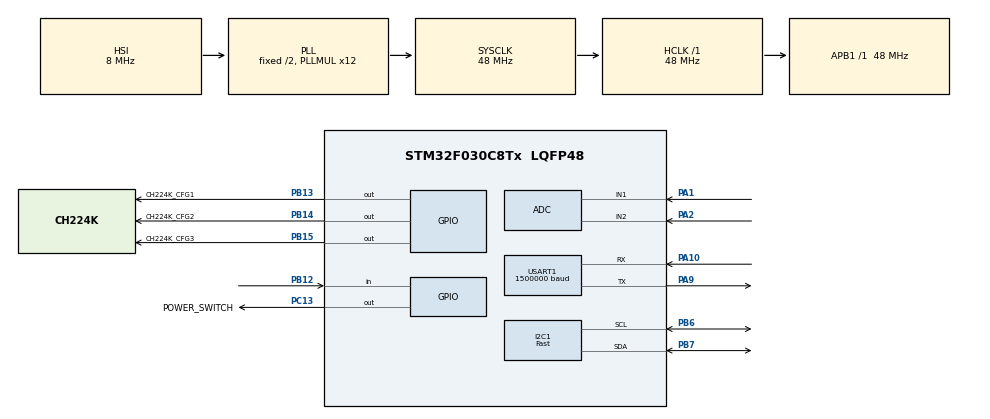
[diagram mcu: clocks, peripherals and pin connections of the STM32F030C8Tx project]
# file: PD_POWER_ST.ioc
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ADC.ClockPrescaler=ADC_CLOCK_ASYNC_DIV1
ADC.DiscontinuousConvMode=ENABLE
ADC.EOCSelection=ADC_EOC_SEQ_CONV
ADC.SamplingTime=ADC_SAMPLETIME_239CYCLES_5
I2C1.I2C_Speed_Mode=I2C_Fast
I2C1.Timing=0x0000020B
Mcu.Family=STM32F0
Mcu.Name=STM32F030C8Tx
Mcu.Package=LQFP48
NVIC.TIM6_IRQn=true\:0\:0\:false\:false\:true\:true\:true
NVIC.USART1_IRQn=true\:0\:0\:false\:false\:true\:true\:true
PA1.Mode=IN1
PA1.Signal=ADC_IN1
PA10.Mode=Asynchronous
PA10.Signal=USART1_RX
PA13.Mode=Serial_Wire
PA13.Signal=SYS_SWDIO
PA14.Mode=Serial_Wire
PA14.Signal=SYS_SWCLK
PA2.Mode=IN2
PA2.Signal=ADC_IN2
PA9.Mode=Asynchronous
PA9.Signal=USART1_TX
PB12.GPIO_PuPd=GPIO_PULLUP
PB12.Signal=GPIO_Input
PB13.GPIO_Label=CH224K_CFG1
PB13.GPIO_PuPd=GPIO_PULLUP
PB13.GPIO_Speed=GPIO_SPEED_FREQ_HIGH
PB13.PinState=GPIO_PIN_SET
PB13.Signal=GPIO_Output
PB14.GPIO_Label=CH224K_CFG2
PB14.GPIO_PuPd=GPIO_PULLDOWN
PB14.GPIO_Speed=GPIO_SPEED_FREQ_HIGH
PB14.Signal=GPIO_Output
PB15.GPIO_Label=CH224K_CFG3
PB15.GPIO_PuPd=GPIO_PULLDOWN
PB15.GPIO_Speed=GPIO_SPEED_FREQ_HIGH
PB15.PinState=GPIO_PIN_RESET
PB15.Signal=GPIO_Output
PB6.Mode=I2C
PB6.Signal=I2C1_SCL
PB7.Mode=I2C
PB7.Signal=I2C1_SDA
PC13.GPIO_Label=POWER_SWITCH
PC13.GPIO_PuPd=GPIO_PULLDOWN
PC13.PinState=GPIO_PIN_RESET
PC13.Signal=GPIO_Output
ProjectManager.HeapSize=0x200
ProjectManager.StackSize=0x400
ProjectManager.TargetToolchain=STM32CubeIDE
RCC.AHBFreq_Value=48000000
RCC.APB1Freq_Value=48000000
RCC.APB1TimFreq_Value=48000000
RCC.HCLKFreq_Value=48000000
RCC.PLLMUL=RCC_PLL_MUL12
RCC.SYSCLKFreq_VALUE=48000000
RCC.SYSCLKSource=RCC_SYSCLKSOURCE_PLLCLK
TIM6.AutoReloadPreload=TIM_AUTORELOAD_PRELOAD_ENABLE
TIM6.Period=9999
TIM6.Prescaler=47
USART1.BaudRate=1500000
USART1.VirtualMode-Asynchronous=VM_ASYNC
VP_TIM6_VS_ClockSourceINT.Mode=Enable_Timer
board=custom

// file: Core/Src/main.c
/* USER CODE BEGIN Header */
/**
  ******************************************************************************
  * @file           : main.c
  * @brief          : Main program body
  ******************************************************************************
  * @attention
  *
  * Copyright (c) 2022 STMicroelectronics.
  * All rights reserved.
  *
  * This software is licensed under terms that can be found in the LICENSE file
  * in the root directory of this software component.
  * If no LICENSE file comes with this software, it is provided AS-IS.
  *
  ******************************************************************************
  */
/* USER CODE END Header */
#include "main.h"
#include "adc.h"
#include "i2c.h"
#include "tim.h"
#include "usart.h"
#include "gpio.h"

/* USER CODE BEGIN Includes */
#include "oled_init.h"
#include "button.h"
/* USER CODE END Includes */

/* USER CODE BEGIN PTD */
//uint8_t buff[1024];
const uint8_t danji[][32] ={
0xE7,0xE7,0xCF,0xF3,0x9F,0xF9,0x03,0xC0,0x73,0xCE,0x73,0xCE,0x03,0xC0,0x73,0xCE,
0x73,0xCE,0x03,0xC0,0x7F,0xFE,0x7F,0xFE,0x00,0x00,0x7F,0xFE,0x7F,0xFE,0x7F,0xFE,/*"单",0*/
0x7F,0xFE,0x7F,0xFE,0x7F,0xFE,0x03,0xC0,0x7F,0xFE,0x7F,0xFE,0x7F,0xFE,0x00,0x00,
0x7F,0xFE,0x7F,0xFE,0x73,0xCE,0x73,0xCE,0x73,0xCE,0x73,0xCE,0x03,0xC0,0xFF,0xCF,/*"击",1*/
};
const uint8_t changan[][32] ={
0xCF,0xFF,0xCF,0xE7,0xCF,0xF3,0xCF,0xF9,0xCF,0xFC,0x4F,0xFE,0xCF,0xFF,0x00,0x00,
0x0F,0xFF,0x4F,0xFE,0xCF,0xFC,0xCF,0xF9,0x4F,0xF2,0x0F,0xC7,0x8F,0x1F,0xCF,0xFF,/*"长",0*/
0xE7,0xF9,0xE7,0xF3,0xE7,0xF3,0x27,0x00,0x00,0x3F,0x87,0x99,0xE7,0xF9,0x07,0x00,
0xE3,0xCC,0xE0,0xCC,0x67,0xCE,0xE7,0xE0,0xE7,0xF3,0xE7,0xE1,0xE1,0xCC,0x33,0x9E,/*"按",1*/
};
const uint8_t qiehuan[][28] ={
0x04,0x00,0xC4,0x1F,0x04,0x11,0x04,0x11,0x3C,0x11,0x07,0x11,0x04,0x11,0x04,0x11,
0x24,0x11,0x94,0x10,0x8C,0x10,0x44,0x10,0x20,0x10,0x10,0x0C,/*"切",0*/
0x44,0x00,0x44,0x00,0xC4,0x07,0x2F,0x04,0x14,0x02,0xE4,0x0F,0x24,0x09,0x2C,0x09,
0x27,0x09,0xF4,0x1F,0x84,0x02,0x44,0x04,0x24,0x08,0x17,0x10,/*"换",1*/
};
const uint8_t shuchu[][28] ={
0x02,0x01,0x82,0x02,0x4F,0x04,0x22,0x08,0xD1,0x17,0x05,0x00,0xEF,0x11,0x24,0x15,
0xE4,0x15,0x2C,0x15,0xE7,0x15,0x24,0x15,0x24,0x11,0xA4,0x1D,/*"输",0*/
0x40,0x00,0x42,0x08,0x42,0x08,0x42,0x08,0x42,0x08,0xFE,0x0F,0x40,0x00,0x40,0x00,
0x41,0x10,0x41,0x10,0x41,0x10,0x41,0x10,0xFF,0x1F,0x00,0x10,/*"出",1*/
};
const uint8_t dianya[][30] ={
0xFF,0xFF,0xBF,0xFF,0xBF,0xFF,0xBF,0xFF,0x03,0xF8,0xBB,0xFB,0x03,0xF8,0xBB,0xFB,
0xBB,0xFB,0x03,0xF8,0xBB,0xFB,0xBF,0xEF,0xBF,0xEF,0x3F,0xE0,0xFF,0xFF,/*"电",0*/
0xFF,0xFF,0xFB,0xF7,0x03,0xF8,0x7B,0xFF,0x7B,0xFF,0x7B,0xFF,0x7B,0xFF,0x1B,0xF8,
0x7B,0xFF,0x7B,0xF9,0x7B,0xFB,0x7B,0xFF,0x79,0xEF,0x87,0xF0,0xFF,0xFF,/*"压",1*/
};
const uint8_t dianliu[][30] ={
0xFF,0xFF,0xBF,0xFF,0xBF,0xFF,0xBF,0xFF,0x03,0xF8,0xBB,0xFB,0x03,0xF8,0xBB,0xFB,
0xBB,0xFB,0x03,0xF8,0xBB,0xFB,0xBF,0xEF,0xBF,0xEF,0x3F,0xE0,0xFF,0xFF,/*"电",0*/
0xFF,0xFF,0xFF,0xFE,0x33,0xF0,0xF7,0xFE,0x7F,0xFF,0xAD,0xF3,0x33,0xF4,0xD7,0xFB,
0xD7,0xFA,0xDB,0xFA,0xD9,0xFA,0xDB,0xFA,0xEB,0xEA,0xE3,0xE3,0xFF,0xFF,/*"流",1*/
};
const uint8_t gonglv[][30] ={
0xFF,0xFF,0xFF,0xFD,0xFF,0xFD,0x81,0xFD,0xF7,0xED,0x77,0xE0,0xF7,0xEE,0xF7,0xEE,
0xF7,0xEE,0x97,0xEE,0x63,0xF7,0x7D,0xF7,0xBF,0xF7,0xDF,0xF1,0xFF,0xFF,/*"功",0*/
0xFF,0xFF,0xBF,0xFF,0x43,0xF0,0xBF,0xFF,0xDB,0xF6,0x07,0xFB,0x7F,0xFF,0xB7,0xFB,
0x0B,0xF6,0x7F,0xFF,0x03,0xE0,0xBF,0xFF,0xBF,0xFF,0xBF,0xFF,0xFF,0xFF,/*"率",1*/
};
//const  uint8_t ONF[][64] ={
// 0xFF,0xFF,0xFF,0xFF,0xFF,0xFF,0xFF,0xFF,0xFF,0xFF,0xFF,0xFF,0x3F,0xF8,0x8F,0xE3,
// 0xC7,0xC7,0xE7,0xCF,0xE3,0x8F,0xE3,0x8F,0xF1,0x9F,0xF1,0x1F,0xF1,0x1F,0xF1,0x1F,
// 0xF1,0x1F,0xF1,0x1F,0xF1,0x1F,0xF1,0x1F,0xF1,0x1F,0xF3,0x1F,0xE3,0x8F,0xE3,0x8F,
// 0xE7,0xCF,0xC7,0xC7,0x8F,0xE3,0x3F,0xF8,0xFF,0xFF,0xFF,0xFF,0xFF,0xFF,0xFF,0xFF,/*"O",0*/
// 0xFF,0xFF,0xFF,0xFF,0xFF,0xFF,0xFF,0xFF,0xFF,0xFF,0xFF,0xFF,0xE0,0x07,0xC3,0x9F,
// 0xC3,0x9F,0x83,0x9F,0x83,0x9F,0x13,0x9F,0x13,0x9F,0x33,0x9E,0x33,0x9E,0x73,0x9C,
// 0x73,0x9C,0xF3,0x98,0xF3,0x98,0xF3,0x91,0xF3,0x91,0xF3,0x83,0xF3,0x83,0xF3,0x87,
// 0xF3,0x87,0xF3,0x8F,0xF3,0x8F,0xC0,0x9F,0xFF,0xFF,0xFF,0xFF,0xFF,0xFF,0xFF,0xFF,/*"N",1*/
// 0xFF,0xFF,0xFF,0xFF,0xFF,0xFF,0xFF,0xFF,0xFF,0xFF,0xFF,0xFF,0x01,0x80,0xC7,0x87,
// 0xC7,0x9F,0xC7,0x3F,0xC7,0x3F,0xC7,0xFF,0xC7,0xFF,0xC7,0xE7,0xC7,0xE7,0xC7,0xE3,
// 0x07,0xE0,0xC7,0xE3,0xC7,0xE7,0xC7,0xE7,0xC7,0xE7,0xC7,0xFF,0xC7,0xFF,0xC7,0xFF,
// 0xC7,0xFF,0xC7,0xFF,0xC7,0xFF,0x01,0xFF,0xFF,0xFF,0xFF,0xFF,0xFF,0xFF,0xFF,0xFF,/*"F",2*/
// };
const uint8_t ONF[][64] ={
0x00,0x00,0x00,0x00,0x00,0x00,0x00,0x00,0x00,0x00,0x00,0x00,0xC0,0x07,0x70,0x1C,
0x38,0x38,0x18,0x30,0x1C,0x70,0x1C,0x70,0x0E,0x60,0x0E,0xE0,0x0E,0xE0,0x0E,0xE0,
0x0E,0xE0,0x0E,0xE0,0x0E,0xE0,0x0E,0xE0,0x0E,0xE0,0x0C,0xE0,0x1C,0x70,0x1C,0x70,
0x18,0x30,0x38,0x38,0x70,0x1C,0xC0,0x07,0x00,0x00,0x00,0x00,0x00,0x00,0x00,0x00,/*"O",0*/
0x00,0x00,0x00,0x00,0x00,0x00,0x00,0x00,0x00,0x00,0x00,0x00,0x1F,0xF8,0x3C,0x60,
0x3C,0x60,0x7C,0x60,0x7C,0x60,0xEC,0x60,0xEC,0x60,0xCC,0x61,0xCC,0x61,0x8C,0x63,
0x8C,0x63,0x0C,0x67,0x0C,0x67,0x0C,0x6E,0x0C,0x6E,0x0C,0x7C,0x0C,0x7C,0x0C,0x78,
0x0C,0x78,0x0C,0x70,0x0C,0x70,0x3F,0x60,0x00,0x00,0x00,0x00,0x00,0x00,0x00,0x00,/*"N",1*/
0x00,0x00,0x00,0x00,0x00,0x00,0x00,0x00,0x00,0x00,0x00,0x00,0xFE,0x7F,0x38,0x78,
0x38,0x60,0x38,0xC0,0x38,0xC0,0x38,0x00,0x38,0x00,0x38,0x18,0x38,0x18,0x38,0x1C,
0xF8,0x1F,0x38,0x1C,0x38,0x18,0x38,0x18,0x38,0x18,0x38,0x00,0x38,0x00,0x38,0x00,
0x38,0x00,0x38,0x00,0x38,0x00,0xFE,0x00,0x00,0x00,0x00,0x00,0x00,0x00,0x00,0x00,/*"F",2*/
};
const uint8_t danwei[][14] ={
// 0xFF,0xFF,0xFF,0x18,0xBD,0xBD,0xDD,0xDB,0xDB,0xEB,0xEB,0xE7,0xF7,0xF7,0xFF,0xFF,/*"V",0*/
// 0xFF,0xFF,0xFF,0xF7,0xF7,0xE7,0xEB,0xEB,0xDB,0xC3,0xDD,0xBD,0xBD,0x18,0xFF,0xFF,/*"A",1*/
// 0xFF,0xFF,0xFF,0x94,0xD5,0xD5,0xD5,0xD5,0xD5,0xC9,0xEB,0xEB,0xEB,0xEB,0xFF,0xFF,/*"W",2*/
0x00,0x00,0x00,0x77,0x22,0x22,0x14,0x14,0x14,0x14,0x08,0x08,0x00,0x00,/*"V",0*/
0x00,0x00,0x00,0x08,0x08,0x14,0x14,0x14,0x1C,0x22,0x22,0x77,0x00,0x00,/*"A",1*/
0x00,0x00,0x00,0x6B,0x2A,0x2A,0x2A,0x2A,0x36,0x14,0x14,0x14,0x00,0x00,/*"W",2*/
};
const uint8_t shuzi[][12] ={
0x00,0x00,0x0E,0x11,0x11,0x11,0x11,0x11,0x11,0x0E,0x00,0x00,/*"0",0*/
0x00,0x00,0x04,0x06,0x04,0x04,0x04,0x04,0x04,0x0E,0x00,0x00,/*"1",1*/
0x00,0x00,0x0E,0x11,0x11,0x08,0x04,0x02,0x01,0x1F,0x00,0x00,/*"2",2*/
0x00,0x00,0x0E,0x11,0x10,0x0C,0x10,0x10,0x11,0x0E,0x00,0x00,/*"3",3*/
0x00,0x00,0x08,0x0C,0x0C,0x0A,0x09,0x1F,0x08,0x1C,0x00,0x00,/*"4",4*/
0x00,0x00,0x1F,0x01,0x01,0x0F,0x11,0x10,0x11,0x0E,0x00,0x00,/*"5",5*/
0x00,0x00,0x0C,0x12,0x01,0x0D,0x13,0x11,0x11,0x0E,0x00,0x00,/*"6",6*/
0x00,0x00,0x1E,0x10,0x08,0x08,0x04,0x04,0x04,0x04,0x00,0x00,/*"7",7*/
0x00,0x00,0x0E,0x11,0x11,0x0E,0x11,0x11,0x11,0x0E,0x00,0x00,/*"8",8*/
0x00,0x00,0x0E,0x11,0x11,0x19,0x16,0x10,0x09,0x06,0x00,0x00,/*"9",9*/
0x00,0x00,0x00,0x00,0x00,0x00,0x00,0x00,0x00,0x02,0x00,0x00,/*".",10*/
};
/* USER CODE END PTD */

void SystemClock_Config(void);

/* USER CODE BEGIN 0 */
KEY_HandleTypeDef key;
volatile uint32_t tim6Tick = 0;
void HAL_TIM_PeriodElapsedCallback(TIM_HandleTypeDef *htim){
	if(htim->Instance == TIM6){
		tim6Tick ++;
		if(tim6Tick % 4 == 0){
			KEY_Scan(&key);
		}
    }
}
unsigned  int millis(void){
	return 10 * tim6Tick;
}
unsigned  int micros(void){
	return 10000 * tim6Tick;
}
void setCh224kVoltage(int v){
  switch(v){
    case 5:
    	HAL_GPIO_WritePin(CH224K_CFG1_GPIO_Port, CH224K_CFG1_Pin, GPIO_PIN_SET);
    	HAL_GPIO_WritePin(CH224K_CFG2_GPIO_Port, CH224K_CFG2_Pin, GPIO_PIN_RESET);
    	HAL_GPIO_WritePin(CH224K_CFG3_GPIO_Port, CH224K_CFG3_Pin, GPIO_PIN_RESET);
    	break;
    case 9:
		HAL_GPIO_WritePin(CH224K_CFG1_GPIO_Port, CH224K_CFG1_Pin, GPIO_PIN_RESET);
		HAL_GPIO_WritePin(CH224K_CFG2_GPIO_Port, CH224K_CFG2_Pin, GPIO_PIN_RESET);
		HAL_GPIO_WritePin(CH224K_CFG3_GPIO_Port, CH224K_CFG3_Pin, GPIO_PIN_RESET);
		break;
    case 12:
		HAL_GPIO_WritePin(CH224K_CFG1_GPIO_Port, CH224K_CFG1_Pin, GPIO_PIN_RESET);
		HAL_GPIO_WritePin(CH224K_CFG2_GPIO_Port, CH224K_CFG2_Pin, GPIO_PIN_RESET);
		HAL_GPIO_WritePin(CH224K_CFG3_GPIO_Port, CH224K_CFG3_Pin, GPIO_PIN_SET);
		break;
    case 15:
		HAL_GPIO_WritePin(CH224K_CFG1_GPIO_Port, CH224K_CFG1_Pin, GPIO_PIN_RESET);
		HAL_GPIO_WritePin(CH224K_CFG2_GPIO_Port, CH224K_CFG2_Pin, GPIO_PIN_SET);
		HAL_GPIO_WritePin(CH224K_CFG3_GPIO_Port, CH224K_CFG3_Pin, GPIO_PIN_SET);
		break;
    case 20:
		HAL_GPIO_WritePin(CH224K_CFG1_GPIO_Port, CH224K_CFG1_Pin, GPIO_PIN_RESET);
		HAL_GPIO_WritePin(CH224K_CFG2_GPIO_Port, CH224K_CFG2_Pin, GPIO_PIN_SET);
		HAL_GPIO_WritePin(CH224K_CFG3_GPIO_Port, CH224K_CFG3_Pin, GPIO_PIN_RESET);
		break;
  }
}
void powerSwitch(int sta){
  if(sta == 1) HAL_GPIO_WritePin(POWER_SWITCH_GPIO_Port, POWER_SWITCH_Pin, GPIO_PIN_SET);
  else if(sta == 0) HAL_GPIO_WritePin(POWER_SWITCH_GPIO_Port, POWER_SWITCH_Pin, GPIO_PIN_RESET);
  else if(sta == -1){
    if(HAL_GPIO_ReadPin(POWER_SWITCH_GPIO_Port, POWER_SWITCH_Pin))
    	HAL_GPIO_WritePin(POWER_SWITCH_GPIO_Port, POWER_SWITCH_Pin, GPIO_PIN_RESET);
    else HAL_GPIO_WritePin(POWER_SWITCH_GPIO_Port, POWER_SWITCH_Pin, GPIO_PIN_SET);
  }
}
/* USER CODE END 0 */

int main(void)
{

  /* MCU Configuration--------------------------------------------------------*/

  /* Reset of all peripherals, Initializes the Flash interface and the Systick. */
  HAL_Init();

  /* Configure the system clock */
  SystemClock_Config();

  /* Initialize all configured peripherals */
  MX_GPIO_Init();
  MX_ADC_Init();
  MX_I2C1_Init();
  MX_USART1_UART_Init();
  MX_TIM6_Init();
  /* USER CODE BEGIN 2 */
  setCh224kVoltage(5);
  powerSwitch(0);
  key.KeyId = Gpio_pin2Index(GPIOB, GPIO_PIN_12);

  /* USER CODE END 2 */

  /* Infinite loop */
  /* USER CODE BEGIN WHILE */
	u8g2_t u8g2;
	u8g2Init(&u8g2);
	int show_len = 7;
	char buf[20]={"\0"};
	char *str1;
	//HAL_ADCEx_Calibration_Start(&hadc);
	const int CFG_VOLTAGE[5] = {5, 9, 12, 15, 20};
	int cfg_index = 0;
	int adc_v=0, adc_c=0;
	float volage=0, current=0, power=0;
  while (1)
  {
    /* USER CODE END WHILE */

    /* USER CODE BEGIN 3 */
	uint32_t t = millis();

	/** 按键事件处理 */
	KEY_FsmTypeDef fsm = KEY_Get_Fsm(&key);
	if(fsm == KEY_FSM_SHORT_PRESS){
		powerSwitch(0);
		if(cfg_index >= 4) cfg_index = 0;
		else cfg_index++;
		setCh224kVoltage(CFG_VOLTAGE[cfg_index]);
		printf("KEY_FSM_SHORT_PRESS\n");
	}else if(fsm == KEY_FSM_DOUBLE_PRESS){
		powerSwitch(0);
		if(cfg_index <= 0) cfg_index = 4;
		else cfg_index--;
		setCh224kVoltage(CFG_VOLTAGE[cfg_index]);
		printf("KEY_FSM_DOUBLE_PRESS\n");
	}else if(fsm == KEY_FSM_LONG_PRESS){
		powerSwitch(-1);
		printf("KEY_FSM_LONG_PRESS\n");
	}

   /** ADC采集转换 */
	HAL_ADCEx_Calibration_Start(&hadc);
	HAL_ADC_Start(&hadc);
	HAL_ADC_PollForConversion(&hadc, 50);
	adc_c = 0.6f * adc_c + 0.4f * HAL_ADC_GetValue(&hadc);
	HAL_ADCEx_Calibration_Start(&hadc);
	HAL_ADC_Start(&hadc);
	HAL_ADC_PollForConversion(&hadc, 50);
	adc_v = 0.5f * adc_v + 0.5f * HAL_ADC_GetValue(&hadc);
	HAL_ADC_Stop(&hadc);
    volage = ((3.3f * adc_v / 4096.0)) * 10.1f;
    current = (3.3f * adc_c / 4096.0) * 2.0f;
    power = volage * current;

    /** Oled显示 */
    u8g2_ClearBuffer(&u8g2);
    u8g2_DrawXBM(&u8g2,0,0,16,16,danji[0]);
    u8g2_DrawXBM(&u8g2,16,0,16,16,danji[1]);
    u8g2_DrawXBM(&u8g2,66,0,16,16,changan[0]);
    u8g2_DrawXBM(&u8g2,82,0,16,16,changan[1]);
    u8g2_DrawXBM(&u8g2,34,2,14,14,qiehuan[0]);
    u8g2_DrawXBM(&u8g2,48,2,14,14,qiehuan[1]);
    u8g2_DrawXBM(&u8g2,100,2,14,14,shuchu[0]);
    u8g2_DrawXBM(&u8g2,114,2,14,14,shuchu[1]);

	u8g2_DrawXBM(&u8g2,0,16,15,15,dianya[0]);
	u8g2_DrawXBM(&u8g2,15,16,15,15,dianya[1]);
	u8g2_DrawXBM(&u8g2,0,33,15,15,dianliu[0]);
	u8g2_DrawXBM(&u8g2,15,33,15,15,dianliu[1]);
	u8g2_DrawXBM(&u8g2,0,50,15,15,gonglv[0]);
	u8g2_DrawXBM(&u8g2,15,50,15,15,gonglv[1]);

	u8g2_DrawXBM(&u8g2,70,16,7,14,danwei[0]);
	u8g2_DrawXBM(&u8g2,70,33,7,14,danwei[1]);
	u8g2_DrawXBM(&u8g2,70,50,7,14,danwei[2]);

	int w = 6;
	int h = 12;
	buf[0] = '0';buf[1] = '.';buf[2] = '0';buf[3] = '0';buf[4] = '0';buf[5] = '0';buf[6] = '0';buf[7] = '0';
	if(volage > 0.001) str1 = gcvt(volage, show_len, buf);
	for(int i=0;i<5;i++){
		if(buf[i] != '.')
			u8g2_DrawXBM(&u8g2,36 + w*i, 16, w, h, shuzi[buf[i] - '0']);
		else u8g2_DrawXBM(&u8g2,36 + w*i, 16, w, h, shuzi[10]);
	}
	buf[0] = '0';buf[1] = '.';buf[2] = '0';buf[3] = '0';buf[4] = '0';buf[5] = '0';buf[6] = '0';buf[7] = '0';
	if(current > 0.001) str1 = gcvt(current, show_len, buf);
	for(int i=0;i<5;i++){
		if(buf[i] != '.')
			u8g2_DrawXBM(&u8g2,36 + w*i, 33, w, h, shuzi[buf[i] - '0']);
		else u8g2_DrawXBM(&u8g2,36 + w*i, 33, w, h, shuzi[10]);
	}
	buf[0] = '0';buf[1] = '.';buf[2] = '0';buf[3] = '0';buf[4] = '0';buf[5] = '0';buf[6] = '0';buf[7] = '0';
	if(power > 0.001) str1 = gcvt(power, show_len, buf);
	for(int i=0;i<5;i++){
		if(buf[i] != '.')
			u8g2_DrawXBM(&u8g2,36 + w*i, 50, w, h, shuzi[buf[i] - '0']);
		else u8g2_DrawXBM(&u8g2,36 + w*i, 50, w, h, shuzi[10]);
	}

	if(HAL_GPIO_ReadPin(POWER_SWITCH_GPIO_Port, POWER_SWITCH_Pin)){
		 u8g2_DrawXBM(&u8g2,88,24,16,32,ONF[0]);
		 u8g2_DrawXBM(&u8g2,104,24,16,32,ONF[1]);
	}else {
		u8g2_DrawXBM(&u8g2,82,24,16,32,ONF[0]);
		u8g2_DrawXBM(&u8g2,98,24,16,32,ONF[2]);
		u8g2_DrawXBM(&u8g2,113,24,16,32,ONF[2]);
	}
	u8g2_SendBuffer(&u8g2);

//	u8g2_ClearBuffer(&u8g2);
//	//u8g2_SetFont(&u8g2, u8g2_font_unifont_t_chinese1);
//	u8g2_SetFont(&u8g2, u8g2_font_DigitalDiscoThin_tu);
//	//u8g2_SetFont(&u8g2, u8g2_font_wqy16_t_gb2312);
//	u8g2_DrawStr(&u8g2, 0, 14, "click");
//	u8g2_DrawStr(&u8g2, 64, 14, "long");
//	u8g2_DrawStr(&u8g2, 0, 22, "----------------------------");
//	//u8g2_SetFont(&u8g2, u8g2_font_wqy12_t_gb2312);
//	u8g2_DrawStr(&u8g2, 32, 14, ":sw");
//	u8g2_DrawStr(&u8g2, 96, 14, ":out");
//	//u8g2_SetFont(&u8g2, u8g2_font_wqy14_t_gb2312);
//	u8g2_DrawStr(&u8g2, 0, 32, "vol:");
//	str1 = gcvt(volage, show_len, buf);
//	u8g2_DrawStr(&u8g2, 35, 32, str1);
//	u8g2_DrawStr(&u8g2, 66, 32, " V");
//	u8g2_DrawStr(&u8g2, 0, 48, "cur:");
//	str1 = gcvt(current, show_len, buf);
//	u8g2_DrawStr(&u8g2, 35, 48, str1);
//	u8g2_DrawStr(&u8g2, 65, 48, " A");
//
//	u8g2_DrawStr(&u8g2, 0, 64, "pow:");
//	str1 = gcvt(power, show_len, buf);
//	u8g2_DrawStr(&u8g2, 35, 64, str1);
//	u8g2_DrawStr(&u8g2, 64, 64, " W");
//
//	//u8g2_SetFont(&u8g2, u8g2_font_logisoso24_tr);
//	if(HAL_GPIO_ReadPin(POWER_SWITCH_GPIO_Port, POWER_SWITCH_Pin))
//		u8g2_DrawStr(&u8g2, 88, 52, "ON");
//	else u8g2_DrawStr(&u8g2, 82, 52, "OFF");
//	u8g2_SendBuffer(&u8g2);

	 printf("%d \n",millis() - t);
	 HAL_Delay(10);
  }
  /* USER CODE END 3 */
}

void SystemClock_Config(void)
{
  RCC_OscInitTypeDef RCC_OscInitStruct = {0};
  RCC_ClkInitTypeDef RCC_ClkInitStruct = {0};
  RCC_PeriphCLKInitTypeDef PeriphClkInit = {0};

  /** Initializes the RCC Oscillators according to the specified parameters
  * in the RCC_OscInitTypeDef structure.
  */
  RCC_OscInitStruct.OscillatorType = RCC_OSCILLATORTYPE_HSI|RCC_OSCILLATORTYPE_HSI14;
  RCC_OscInitStruct.HSIState = RCC_HSI_ON;
  RCC_OscInitStruct.HSI14State = RCC_HSI14_ON;
  RCC_OscInitStruct.HSICalibrationValue = RCC_HSICALIBRATION_DEFAULT;
  RCC_OscInitStruct.HSI14CalibrationValue = 16;
  RCC_OscInitStruct.PLL.PLLState = RCC_PLL_ON;
  RCC_OscInitStruct.PLL.PLLSource = RCC_PLLSOURCE_HSI;
  RCC_OscInitStruct.PLL.PLLMUL = RCC_PLL_MUL12;
  RCC_OscInitStruct.PLL.PREDIV = RCC_PREDIV_DIV1;
  if (HAL_RCC_OscConfig(&RCC_OscInitStruct) != HAL_OK)
  {
    Error_Handler();
  }
  /** Initializes the CPU, AHB and APB buses clocks
  */
  RCC_ClkInitStruct.ClockType = RCC_CLOCKTYPE_HCLK|RCC_CLOCKTYPE_SYSCLK
                              |RCC_CLOCKTYPE_PCLK1;
  RCC_ClkInitStruct.SYSCLKSource = RCC_SYSCLKSOURCE_PLLCLK;
  RCC_ClkInitStruct.AHBCLKDivider = RCC_SYSCLK_DIV1;
  RCC_ClkInitStruct.APB1CLKDivider = RCC_HCLK_DIV1;

  if (HAL_RCC_ClockConfig(&RCC_ClkInitStruct, FLASH_LATENCY_1) != HAL_OK)
  {
    Error_Handler();
  }
  PeriphClkInit.PeriphClockSelection = RCC_PERIPHCLK_USART1|RCC_PERIPHCLK_I2C1;
  PeriphClkInit.Usart1ClockSelection = RCC_USART1CLKSOURCE_PCLK1;
  PeriphClkInit.I2c1ClockSelection = RCC_I2C1CLKSOURCE_HSI;
  if (HAL_RCCEx_PeriphCLKConfig(&PeriphClkInit) != HAL_OK)
  {
    Error_Handler();
  }
}

void Error_Handler(void)
{
  __disable_irq();
  while (1)
  {
  }
}
